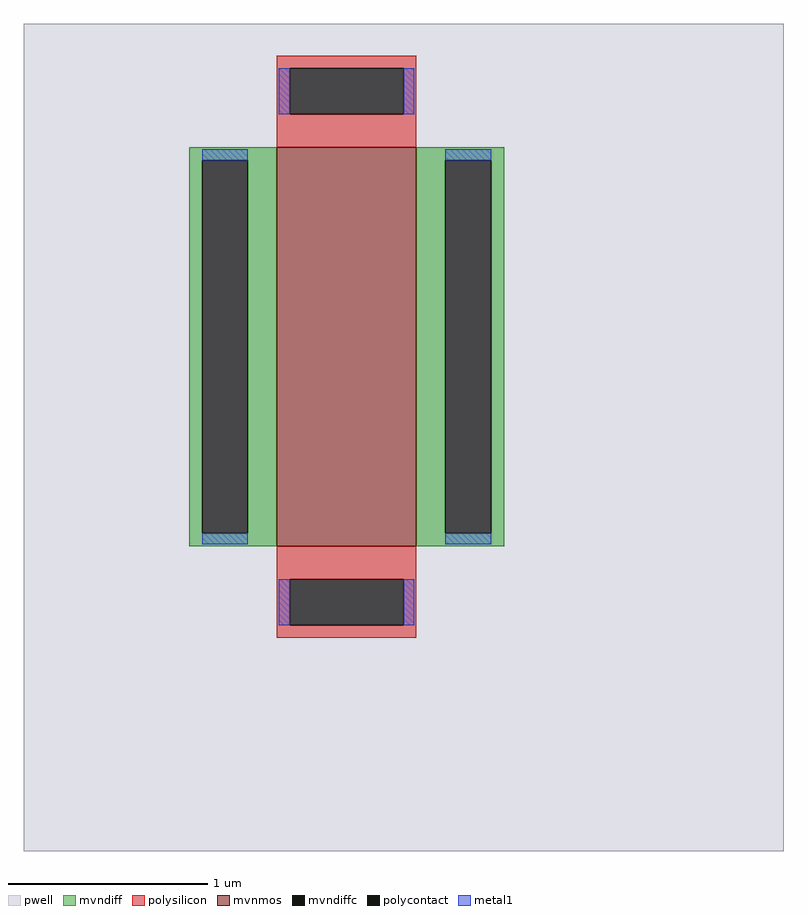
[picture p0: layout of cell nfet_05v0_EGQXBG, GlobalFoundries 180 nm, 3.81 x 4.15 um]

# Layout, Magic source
magic
tech gf180mcuD
magscale 1 10
<< pwell >>
rect -324 -506 438 324
<< mvnmos >>
rect -70 -200 70 200
<< mvndiff >>
rect -158 187 -70 200
rect -158 -187 -145 187
rect -99 -187 -70 187
rect -158 -200 -70 -187
rect 70 187 158 200
rect 70 -187 99 187
rect 145 -187 158 187
rect 70 -200 158 -187
<< mvndiffc >>
rect -145 -187 -99 187
rect 99 -187 145 187
<< polysilicon >>
rect -70 279 70 292
rect -70 233 -57 279
rect 57 233 70 279
rect -70 200 70 233
rect -70 -233 70 -200
rect -70 -279 -57 -233
rect 57 -279 70 -233
rect -70 -292 70 -279
<< polycontact >>
rect -57 233 57 279
rect -57 -279 57 -233
<< metal1 >>
rect -68 233 -57 279
rect 57 233 68 279
rect -145 187 -99 198
rect -145 -198 -99 -187
rect 99 187 145 198
rect 99 -198 145 -187
rect -68 -279 -57 -233
rect 57 -279 68 -233
<< properties >>
string gencell nfet_05v0
string library gf180mcu
string parameters w 2 l 0.7 m 1 nf 1 diffcov 100 polycov 100 guard 0 glc 0 grc 0 gtc 0 gbc 0 tbcov 100 rlcov 100 topc 0 botc 0 poverlap 1 doverlap 1 lmin 0.7 wmin 0.3 class mosfet full_metal 0 compatible {nfet_03v3 nfet_05v0 nfet_06v0 nfet_06v0_nvt}
<< end >>
